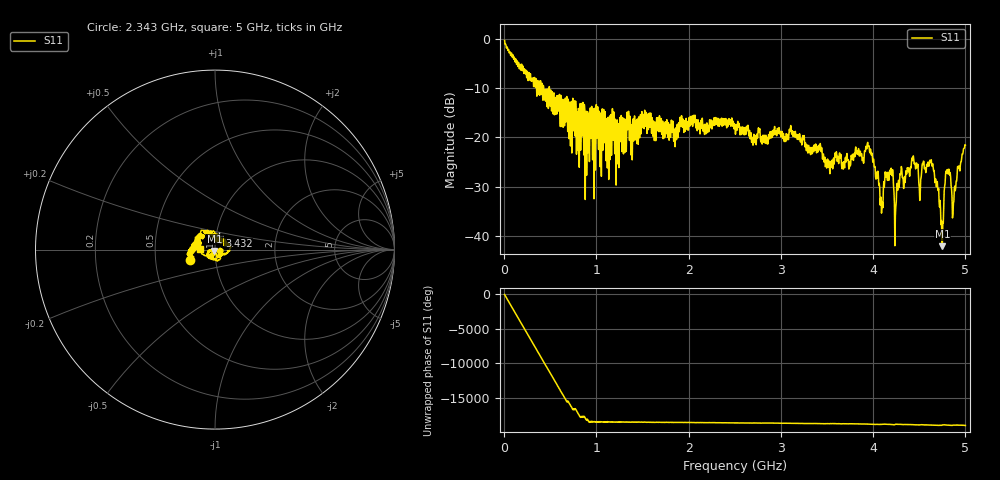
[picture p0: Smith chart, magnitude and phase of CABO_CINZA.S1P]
!Keysight Technologies,E5063A,MY54503139,A.05.08
!Date: Fri Dec 16 02:44:07 2022
!Data & Calibration Information:
!Freq	S11:SOLT1(ON)
# Hz S RI R 50
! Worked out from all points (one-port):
!   1001 points, 4.995 MHz to 5 GHz, reference 50 ohm
!   lowest |S11| = -42.0 dB at 4.75 GHz (marker M1), VSWR 1.02, Z = 49.7 - j0.731 ohm
!   |S11| at or under -10 dB: 382 MHz to 390 MHz (7.935 MHz wide, 2.06 % of centre); 429.6 MHz to 488.9 MHz (59.26 MHz wide, 12.9 % of centre); 490 MHz to end of sweep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
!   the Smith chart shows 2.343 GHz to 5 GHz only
!   S11 on the Smith chart (normalised r, x): 2.343 GHz: 0.75, -0.09; 3.432 GHz: 1.04, +0.16; 5 GHz: 0.85, +0.01
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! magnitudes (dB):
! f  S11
! 4.995 MHz  -0.4
! 629.4 MHz  -12.7
! 849.2 MHz  -18.8
! 904.1 MHz  -14.8
! 1.004 GHz  -20.2
! 1.254 GHz  -16.0
! 1.518 GHz  -18.2
! 1.878 GHz  -17.3
! 2.343 GHz  -16.4
! 2.502 GHz  -17.7
! 2.707 GHz  -19.4
! 3.127 GHz  -19.0
! 3.432 GHz  -21.9
! 3.506 GHz  -24.3
! 3.751 GHz  -25.7
! 3.951 GHz  -21.8
! 4.086 GHz  -32.1
! 4.156 GHz  -28.7
! 4.201 GHz  -27.5
! 4.246 GHz  -34.0
! 4.286 GHz  -29.1
! 4.376 GHz  -26.5
! 4.5 GHz  -30.1
! 4.635 GHz  -25.7
! 4.75 GHz  -42.0
! 4.8 GHz  -26.5
! 4.875 GHz  -32.8
! 5 GHz  -21.6
